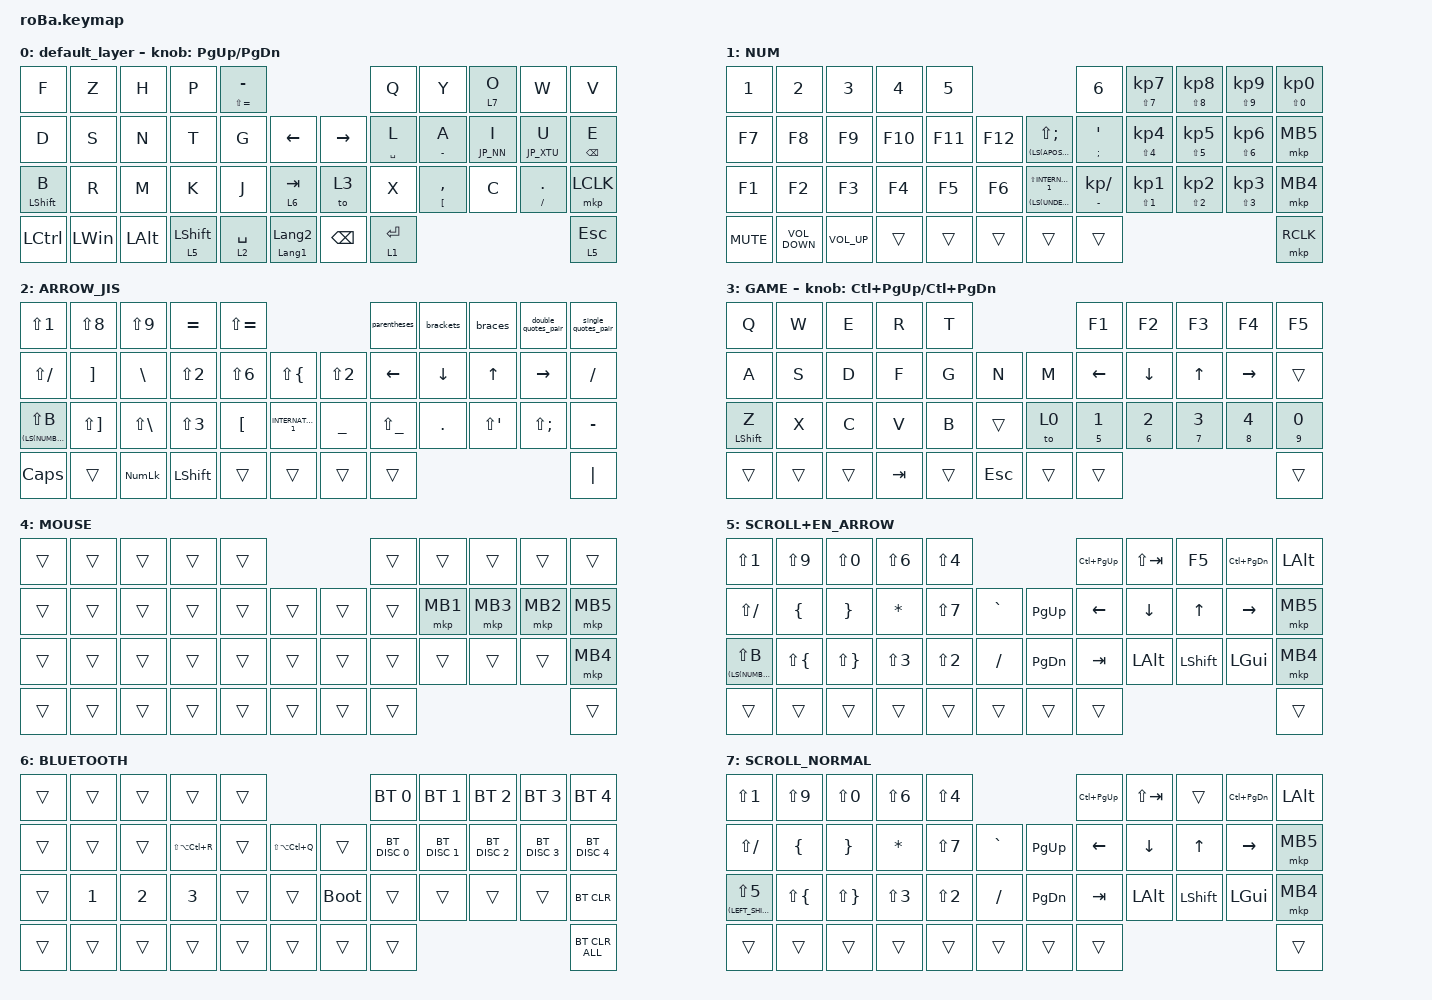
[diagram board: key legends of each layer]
#include <input/processors.dtsi>
#include <behaviors.dtsi>
#include <dt-bindings/zmk/bt.h>
#include <dt-bindings/zmk/keys.h>
#include <dt-bindings/zmk/pointing.h>

&mt {
    flavor = "balanced";
    quick-tap-ms = <0>;
};

&trackball {
    // arrows {
    //     layers = <3>;
    //     bindings =
    //         <&kp RIGHT_ARROW>,
    //         <&kp LEFT_ARROW>,
    //         <&kp UP_ARROW>,
    //         <&kp DOWN_ARROW>;
    //     tick = <10>;
    //     wait-ms = <5>;
    //     tap-ms = <5>;
    // };
};

// Keep click refresh separate from the key bindings and layer design.

&mkp_input_listener { input-processors = <&zip_temp_layer 4 700>; };

/ {
    combos {
        compatible = "zmk,combos";

        shift_tab {
            bindings = <&kp LS(TAB)>;
            key-positions = <12 13>;
        };

        double_quotation {
            bindings = <&kp DOUBLE_QUOTES>;
            key-positions = <31 30>;
        };

        lang2 {
            bindings = <&kp LANGUAGE_2>;
            key-positions = <23 24>;
        };

        lang1 {
            bindings = <&kp LANGUAGE_1>;
            key-positions = <24 25>;
        };

        parentheses {
            bindings = <&parentheses>;
            key-positions = <38 1 2>;
        };

        brackets {
            bindings = <&brackets>;
            key-positions = <12 11 38>;
        };

        braces {
            bindings = <&braces>;
            key-positions = <23 24 38>;
        };

        Caps {
            bindings = <&caps_word>;
            key-positions = <13 18>;
        };

        JP_YA_1 {
            bindings = <&JP_YA>;
            key-positions = <6 18>;
        };

        JP_YO {
            bindings = <&JP_YO>;
            key-positions = <6 7>;
        };

        JP_YU {
            bindings = <&JP_YU>;
            key-positions = <6 5>;
        };

        JP_YA_2 {
            bindings = <&JP_YA>;
            key-positions = <6 17>;
        };
    };

    macros {
        to_layer_0: to_layer_0 {
            compatible = "zmk,behavior-macro-one-param";
            #binding-cells = <1>;
            bindings = <&to 0 &macro_param_1to1 &kp MACRO_PLACEHOLDER>;
            label = "TO_LAYER_0";
        };

        JP_NN: JP_NN {
            compatible = "zmk,behavior-macro";
            #binding-cells = <0>;
            bindings = <&kp N &kp N>;
            label = "JP_NN";
        };

        JP_XTU: JP_XTU {
            compatible = "zmk,behavior-macro";
            #binding-cells = <0>;
            bindings = <&kp X &kp T &kp U>;
            label = "JP_XTU";
        };

        exit_AML: exit_AML {
            compatible = "zmk,behavior-macro";
            #binding-cells = <0>;
            wait-ms = <0>;
            tap-ms = <0>;
            bindings = <&tog_off 4>;
            label = "EXIT_AML";
        };

        kp_exit_AML: kp_exit_AML {
            compatible = "zmk,behavior-macro-one-param";
            #binding-cells = <1>;
            wait-ms = <0>;
            tap-ms = <0>;
            bindings = <&macro_param_1to1 &kp MACRO_PLACEHOLDER &exit_AML>;
            label = "KP_EXIT_AML";
        };

        parentheses: parentheses {
            compatible = "zmk,behavior-macro";
            #binding-cells = <0>;
            bindings = <&kp LS(NUMBER_8) &kp LS(NUMBER_9) &kp LEFT_ARROW>;
            label = "PARENTHESES";
        };

        brackets: brackets {
            compatible = "zmk,behavior-macro";
            #binding-cells = <0>;
            bindings = <&kp RIGHT_BRACKET &kp BACKSLASH &kp LEFT_ARROW>;
            label = "BRACKETS";
        };

        braces: braces {
            compatible = "zmk,behavior-macro";
            #binding-cells = <0>;
            bindings = <&kp LS(RIGHT_BRACKET) &kp LS(BACKSLASH) &kp LEFT_ARROW>;
            label = "BRACES";
        };

        double_quotes_pair: double_quotes_pair {
            compatible = "zmk,behavior-macro";
            #binding-cells = <0>;
            bindings = <&kp LS(NUMBER_2) &kp LS(NUMBER_2) &kp LEFT_ARROW>;
            label = "DOUBLE_QUOTES_PAIR";
        };

        single_quotes_pair: single_quotes_pair {
            compatible = "zmk,behavior-macro";
            #binding-cells = <0>;
            bindings = <&kp LS(NUMBER_7) &kp LS(NUMBER_7) &kp LEFT_ARROW>;
            label = "SINGLE_QUOTES_PAIR";
        };

        JP_YA: YA {
            compatible = "zmk,behavior-macro";
            #binding-cells = <0>;
            bindings = <&kp Y &kp A>;
            label = "YA";
        };

        JP_YU: YU {
            compatible = "zmk,behavior-macro";
            #binding-cells = <0>;
            bindings = <&kp Y &kp U>;
            label = "YU";
        };

        JP_YO: YO {
            compatible = "zmk,behavior-macro";
            #binding-cells = <0>;
            bindings = <&kp Y &kp O>;
            label = "YO";
        };
    };

    behaviors {
        lt_to_layer_0: lt_to_layer_0 {
            compatible = "zmk,behavior-hold-tap";
            label = "LAYER_TAP_TO_0";
            bindings = <&mo>, <&to_layer_0>;

            #binding-cells = <2>;
            tapping-term-ms = <200>;
        };

        nn: nn {
            compatible = "zmk,behavior-hold-tap";
            label = "NN";
            bindings = <&JP_NN>, <&kp>;

            #binding-cells = <2>;
            tapping-term-ms = <200>;
            flavor = "tap-preferred";
            require-prior-idle-ms = <125>;
        };

        xtu: xtu {
            compatible = "zmk,behavior-hold-tap";
            label = "XTU";
            bindings = <&JP_XTU>, <&kp>;

            #binding-cells = <2>;
            tapping-term-ms = <200>;
            require-prior-idle-ms = <125>;
            flavor = "tap-preferred";
        };

        tog_off: toggle_layer_off {
            compatible = "zmk,behavior-toggle-layer";
            #binding-cells = <1>;
            display-name = "Toggle Layer Off";
            toggle-mode = "off";
        };

        mt_exit_AML_on_tap: mt_exit_AML_on_tap {
            compatible = "zmk,behavior-hold-tap";
            label = "MT_EXIT_AML_ON_TAP";
            bindings = <&kp>, <&kp_exit_AML>;

            #binding-cells = <2>;
            tapping-term-ms = <200>;
            flavor = "balanced";
            quick-tap-ms = <200>;
        };
    };

    keymap {
        compatible = "zmk,keymap";

        default_layer {
            bindings = <
&kp F                             &kp Z         &kp H         &kp P                        &mt LS(EQUAL) MINUS                                                  &kp Q        &kp Y                   &lt 7 O  &kp W             &kp V
&kp D                             &kp S         &kp N         &kp T                        &kp G                &kp LEFT_ARROW                 &kp RIGHT_ARROW  &mt SPACE L  &mt MINUS A             &nn 0 I  &xtu 0 U          &mt BACKSPACE E
&mt_exit_AML_on_tap LEFT_SHIFT B  &kp R         &kp M         &kp K                        &kp J                &lt_to_layer_0 6 TAB           &to 3            &kp X        &mt LEFT_BRACKET COMMA  &kp C    &mt SLASH PERIOD  &mkp LCLK
&kp LCTRL                         &kp LEFT_WIN  &kp LEFT_ALT  &lt_to_layer_0 5 LEFT_SHIFT  &lt 2 SPACE          &mt LANGUAGE_1 LANGUAGE_2      &kp BACKSPACE    &lt 1 ENTER                                                     &lt 5 ESCAPE
            >;

            sensor-bindings = <&inc_dec_kp PG_UP PAGE_DOWN>;
        };

        NUM {
            bindings = <
&kp NUMBER_1  &kp NUMBER_2       &kp NUMBER_3     &kp NUMBER_4  &kp N5                                                          &kp NUMBER_6              &mt LS(NUMBER_7) KP_NUMBER_7  &mt LS(NUMBER_8) KP_NUMBER_8  &mt LS(NUMBER_9) KP_NUMBER_9  &mt LS(NUMBER_0) KP_NUMBER_0
&kp F7        &kp F8             &kp F9           &kp F10       &kp F11  &kp F12      &mt (LS(APOSTROPHE)) LS(SEMICOLON)        &mt SEMICOLON APOSTROPHE  &mt LS(NUMBER_4) KP_NUMBER_4  &mt LS(NUMBER_5) KP_NUMBER_5  &mt LS(NUMBER_6) KP_NUMBER_6  &mkp MB5
&kp F1        &kp F2             &kp F3           &kp F4        &kp F5   &kp F6       &mt (LS(UNDERSCORE)) LS(INTERNATIONAL_1)  &mt MINUS KP_SLASH        &mt LS(NUMBER_1) KP_NUMBER_1  &mt LS(NUMBER_2) KP_NUMBER_2  &mt LS(NUMBER_3) KP_NUMBER_3  &mkp MB4
&kp K_MUTE    &kp C_VOLUME_DOWN  &kp C_VOLUME_UP  &trans        &trans   &trans       &trans                                    &trans                                                                                                              &mkp RCLK
            >;
        };

        ARROW_JIS {
            bindings = <
&kp LS(NUMBER_1)          &kp LS(NUMBER_8)       &kp LS(NUMBER_9)   &kp EQUAL         &kp LS(EQUAL)                                                &parentheses        &brackets       &braces             &double_quotes_pair  &single_quotes_pair
&kp LS(SLASH)             &kp RIGHT_BRACKET      &kp BACKSLASH      &kp LS(NUMBER_2)  &kp LS(NUMBER_6)  &kp LS(LEFT_BRACE)       &kp LS(NUMBER_2)  &kp LEFT_ARROW      &kp DOWN_ARROW  &kp UP_ARROW        &kp RIGHT_ARROW      &kp SLASH
&mt (LS(NUMBER_5)) LS(B)  &kp LS(RIGHT_BRACKET)  &kp LS(BACKSLASH)  &kp LS(NUMBER_3)  &kp LEFT_BRACKET  &kp INTERNATIONAL_1      &kp UNDERSCORE    &kp LS(UNDERSCORE)  &kp PERIOD      &kp LS(APOSTROPHE)  &kp LS(SEMICOLON)    &kp MINUS
&kp CAPSLOCK              &trans                 &kp KP_NUMLOCK     &kp LEFT_SHIFT    &trans            &trans                   &trans            &trans                                                                       &kp PIPE
            >;
        };

        GAME {
            bindings = <
&kp Q             &kp W   &kp E   &kp R    &kp T                           &kp F1          &kp F2          &kp F3        &kp F4           &kp F5
&kp A             &kp S   &kp D   &kp F    &kp G   &kp N           &kp M   &kp LEFT_ARROW  &kp DOWN_ARROW  &kp UP_ARROW  &kp RIGHT_ARROW  &trans
&mt LEFT_SHIFT Z  &kp X   &kp C   &kp V    &kp B   &trans          &to 0   &mt N5 N1       &mt N6 N2       &mt N7 N3     &mt N8 N4        &mt N9 N0
&trans            &trans  &trans  &kp TAB  &trans  &kp ESCAPE      &trans  &trans                                                         &trans
            >;

            sensor-bindings = <&inc_dec_kp LC(PAGE_UP) LC(PAGE_DOWN)>;
        };

        MOUSE {
            bindings = <
&trans  &trans  &trans  &trans  &trans                      &trans  &trans    &trans    &trans    &trans
&trans  &trans  &trans  &trans  &trans  &trans      &trans  &trans  &mkp MB1  &mkp MB3  &mkp MB2  &mkp MB5
&trans  &trans  &trans  &trans  &trans  &trans      &trans  &trans  &trans    &trans    &trans    &mkp MB4
&trans  &trans  &trans  &trans  &trans  &trans      &trans  &trans                                &trans
            >;
        };

        SCROLL+EN_ARROW {
            bindings = <
&kp LS(NUMBER_1)          &kp LS(NUMBER_9)    &kp LS(NUMBER_0)     &kp LS(NUMBER_6)  &kp LS(NUMBER_4)                                &kp LC(PAGE_UP)  &kp LS(TAB)     &kp F5          &kp LC(PAGE_DOWN)  &kp LEFT_ALT
&kp LS(SLASH)             &kp LEFT_BRACE      &kp RIGHT_BRACE      &kp STAR          &kp LS(NUMBER_7)  &kp GRAVE      &kp PAGE_UP    &kp LEFT_ARROW   &kp DOWN_ARROW  &kp UP_ARROW    &kp RIGHT_ARROW    &mkp MB5
&mt (LS(NUMBER_5)) LS(B)  &kp LS(LEFT_BRACE)  &kp LS(RIGHT_BRACE)  &kp LS(NUMBER_3)  &kp LS(NUMBER_2)  &kp SLASH      &kp PAGE_DOWN  &kp TAB          &kp LEFT_ALT    &kp LEFT_SHIFT  &kp LEFT_GUI       &mkp MB4
&trans                    &trans              &trans               &trans            &trans            &trans         &trans         &trans                                                              &trans
            >;
        };

        BLUETOOTH {
            bindings = <
&trans  &trans        &trans        &trans             &trans                                      &bt BT_SEL 0   &bt BT_SEL 1   &bt BT_SEL 2   &bt BT_SEL 3   &bt BT_SEL 4
&trans  &trans        &trans        &kp LS(LA(LC(R)))  &trans  &kp LS(LA(LC(Q)))      &trans       &bt BT_DISC 0  &bt BT_DISC 1  &bt BT_DISC 2  &bt BT_DISC 3  &bt BT_DISC 4
&trans  &kp NUMBER_1  &kp NUMBER_2  &kp NUMBER_3       &trans  &trans                 &bootloader  &trans         &trans         &trans         &trans         &bt BT_CLR
&trans  &trans        &trans        &trans             &trans  &trans                 &trans       &trans                                                      &bt BT_CLR_ALL
            >;
        };

        SCROLL_NORMAL {
            bindings = <
&kp LS(NUMBER_1)               &kp LS(NUMBER_9)    &kp LS(NUMBER_0)     &kp LS(NUMBER_6)  &kp LS(NUMBER_4)                                &kp LC(PAGE_UP)  &kp LS(TAB)     &trans          &kp LC(PAGE_DOWN)  &kp LEFT_ALT
&kp LS(SLASH)                  &kp LEFT_BRACE      &kp RIGHT_BRACE      &kp STAR          &kp LS(NUMBER_7)  &kp GRAVE      &kp PAGE_UP    &kp LEFT_ARROW   &kp DOWN_ARROW  &kp UP_ARROW    &kp RIGHT_ARROW    &mkp MB5
&mt (LEFT_SHIFT) LS(NUMBER_5)  &kp LS(LEFT_BRACE)  &kp LS(RIGHT_BRACE)  &kp LS(NUMBER_3)  &kp LS(NUMBER_2)  &kp SLASH      &kp PAGE_DOWN  &kp TAB          &kp LEFT_ALT    &kp LEFT_SHIFT  &kp LEFT_GUI       &mkp MB4
&trans                         &trans              &trans               &trans            &trans            &trans         &trans         &trans                                                              &trans
            >;
        };
    };
};
